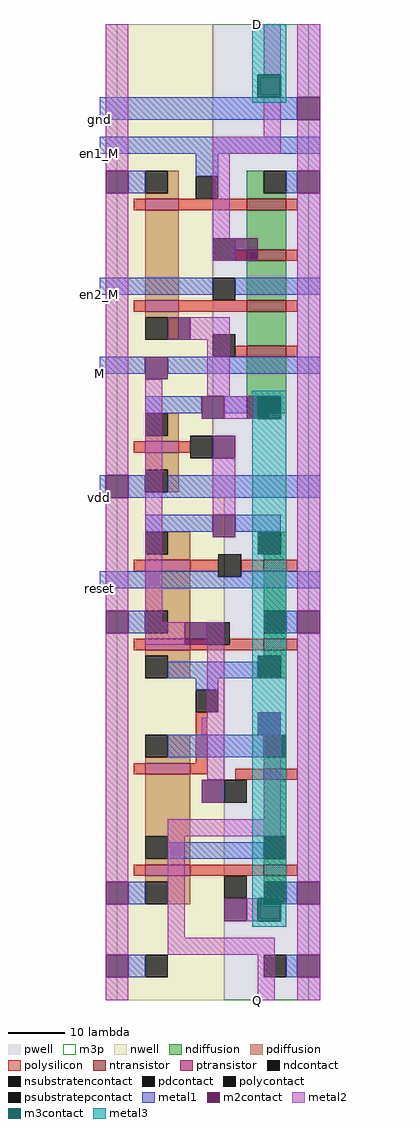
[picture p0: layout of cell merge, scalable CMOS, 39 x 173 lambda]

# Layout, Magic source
magic
tech scmos
<< nwell >>
rect -2 89 17 173
rect -2 0 19 89
<< pwell >>
rect 17 89 36 173
rect 19 0 36 89
<< ntransistor >>
rect 23 140 30 142
rect 23 131 30 133
rect 23 122 30 124
rect 23 114 30 116
rect 26 76 30 78
rect 26 62 30 64
rect 26 39 30 41
rect 26 22 30 24
<< ptransistor >>
rect 5 140 11 142
rect 5 122 11 124
rect 5 97 11 99
rect 5 76 13 78
rect 5 62 13 64
rect 5 40 13 42
rect 5 22 13 24
<< ndiffusion >>
rect 23 143 26 147
rect 23 142 30 143
rect 23 133 30 140
rect 23 124 30 131
rect 23 116 30 122
rect 23 107 30 114
rect 27 104 30 107
rect 29 79 30 83
rect 26 78 30 79
rect 26 69 30 76
rect 26 64 30 65
rect 26 61 30 62
rect 29 57 30 61
rect 26 41 30 43
rect 26 29 30 39
rect 26 24 30 25
rect 26 21 30 22
<< pdiffusion >>
rect 9 143 11 147
rect 5 142 11 143
rect 5 124 11 140
rect 5 121 11 122
rect 9 117 11 121
rect 9 100 11 104
rect 5 99 11 100
rect 5 94 11 97
rect 9 90 11 94
rect 9 79 13 83
rect 5 78 13 79
rect 5 69 13 76
rect 9 65 13 69
rect 5 64 13 65
rect 5 61 13 62
rect 9 57 13 61
rect 9 43 13 47
rect 5 42 13 43
rect 5 29 13 40
rect 9 25 13 29
rect 5 24 13 25
rect 5 21 13 22
rect 9 17 13 21
<< ndcontact >>
rect 26 143 30 147
rect 23 103 27 107
rect 25 79 29 83
rect 26 65 30 69
rect 25 57 29 61
rect 26 43 30 47
rect 26 25 30 29
rect 26 17 30 21
<< pdcontact >>
rect 5 143 9 147
rect 5 117 9 121
rect 5 100 9 104
rect 5 90 9 94
rect 5 79 9 83
rect 5 65 9 69
rect 5 57 9 61
rect 5 43 9 47
rect 5 25 9 29
rect 5 17 9 21
<< psubstratepcontact >>
rect 26 4 30 8
<< nsubstratencontact >>
rect 5 4 9 8
<< polysilicon >>
rect 3 140 5 142
rect 11 140 23 142
rect 30 140 32 142
rect 21 131 23 133
rect 30 131 32 133
rect 3 122 5 124
rect 11 122 23 124
rect 30 122 32 124
rect 21 114 23 116
rect 30 114 32 116
rect 3 97 5 99
rect 11 97 13 99
rect 3 76 5 78
rect 13 76 18 78
rect 22 76 26 78
rect 30 76 32 78
rect 3 62 5 64
rect 13 63 16 64
rect 20 63 26 64
rect 13 62 26 63
rect 30 62 32 64
rect 14 42 16 51
rect 3 40 5 42
rect 13 40 16 42
rect 21 39 26 41
rect 30 39 32 41
rect 3 22 5 24
rect 13 22 26 24
rect 30 22 32 24
<< polycontact >>
rect 14 142 18 146
rect 17 131 21 135
rect 17 124 21 128
rect 17 114 21 118
rect 13 96 17 100
rect 18 75 22 79
rect 16 63 20 67
rect 14 51 18 55
rect 19 35 23 39
rect 19 18 23 22
<< metal1 >>
rect -3 156 32 160
rect -3 150 36 153
rect 2 143 5 147
rect 14 146 18 150
rect 30 143 32 147
rect -3 125 17 128
rect 21 125 36 128
rect -3 111 5 114
rect 9 111 36 114
rect 5 104 15 107
rect 19 104 23 107
rect -3 89 -2 93
rect 2 90 5 93
rect 9 90 36 93
rect 2 89 36 90
rect 5 83 17 86
rect 21 83 29 86
rect -3 75 18 76
rect 22 75 36 76
rect -3 73 36 75
rect 2 65 5 69
rect 30 65 32 69
rect 9 57 25 60
rect 14 55 18 57
rect 9 43 26 47
rect 9 25 26 28
rect 2 17 5 21
rect 30 17 32 21
rect 2 4 5 8
rect 30 4 32 8
<< m2contact >>
rect 32 156 36 160
rect -2 143 2 147
rect 32 143 36 147
rect 21 131 25 135
rect 9 117 13 121
rect 5 110 9 114
rect 15 103 19 107
rect 17 96 21 100
rect -2 89 2 93
rect 17 82 21 86
rect -2 65 2 69
rect 12 63 16 67
rect 32 65 36 69
rect 25 47 29 51
rect 15 35 19 39
rect -2 17 2 21
rect 19 14 23 18
rect 32 17 36 21
rect -2 4 2 8
rect 32 4 36 8
<< metal2 >>
rect -2 147 2 173
rect 26 164 29 173
rect 26 153 29 160
rect -2 93 2 143
rect 17 150 29 153
rect 32 160 36 173
rect 17 135 20 150
rect 32 147 36 156
rect 17 131 21 135
rect 13 117 20 121
rect -2 69 2 89
rect -2 21 2 65
rect 5 67 8 110
rect 16 107 20 117
rect 19 103 25 107
rect 17 86 21 96
rect 32 69 36 143
rect 5 63 12 67
rect 16 50 19 67
rect 15 47 19 50
rect 16 39 19 47
rect 26 32 29 47
rect -2 8 2 17
rect 9 29 29 32
rect 9 11 12 29
rect 32 21 36 65
rect 23 14 25 18
rect 9 8 28 11
rect -2 0 2 4
rect 25 0 28 8
rect 32 8 36 17
rect 32 0 36 4
<< m3contact >>
rect 25 160 29 164
rect 25 103 29 107
rect 25 14 29 18
<< metal3 >>
rect 24 164 30 173
rect 24 160 25 164
rect 29 160 30 164
rect 24 159 30 160
rect 24 107 30 108
rect 24 103 25 107
rect 29 103 30 107
rect 24 18 30 103
rect 24 14 25 18
rect 29 14 30 18
rect 24 13 30 14
<< m3p >>
rect 0 0 34 173
<< labels >>
rlabel metal1 -3 73 -3 73 1 reset
rlabel metal1 -3 111 -3 111 3 M
rlabel metal1 -3 125 -3 125 3 en2_M
rlabel metal1 -3 150 -3 150 3 en1_M
rlabel pwell 25 173 25 173 5 D
rlabel metal1 -3 156 -3 156 3 gnd
rlabel metal1 -3 89 -3 89 1 vdd
rlabel metal2 25 0 25 0 1 Q
<< end >>
